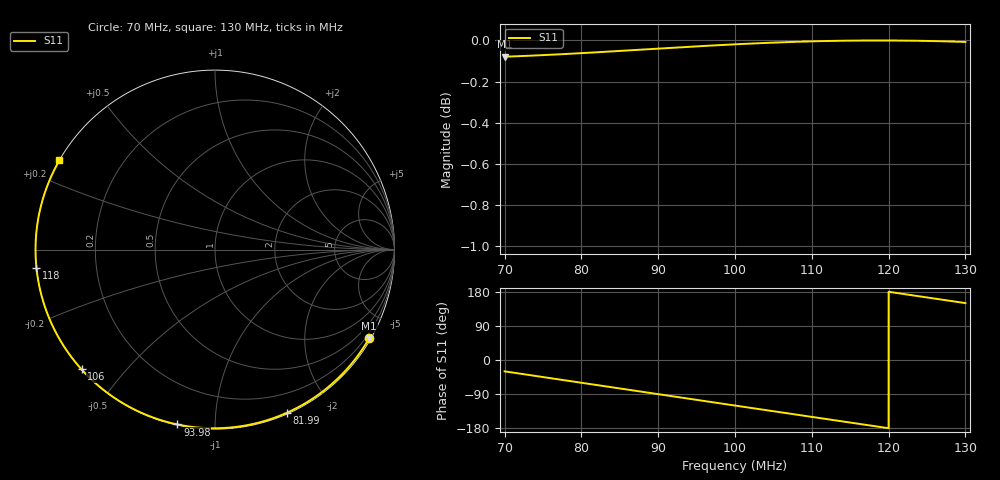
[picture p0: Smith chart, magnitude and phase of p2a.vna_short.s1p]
# Hz S RI R 50
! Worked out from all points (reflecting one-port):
!   10000 points, 70 MHz to 130 MHz, reference 50 ohm
!   lowest |S11| = -0.1 dB at 70 MHz (marker M1), VSWR 219.94, Z = 3.4 - j187 ohm
!   phase of S11 starts at -30 deg and turns -180 deg over the sweep
!   S11 on the Smith chart (normalised r, x): 70 MHz: 0.07, -3.74; 81.99 MHz: 0.01, -1.54; 93.98 MHz: 0.00, -0.81; 106 MHz: 0.00, -0.38; 118 MHz: -0.00, -0.05; 130 MHz: 0.00, +0.27
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7e7  0.8585 -0.4949
7.149415e7  0.8171 -0.561
7.351635e7  0.7531 -0.6449
7.750075e7  0.6029 -0.7883
7.976898e7  0.505 -0.8549
8.19892e7  0.4022 -0.9083
8.50015e7  0.2542 -0.9611
8.688569e7  0.1581 -0.982
8.875788e7  0.0611 -0.9933
9.063006e7  -0.0366 -0.9949
9.250225e7  -0.134 -0.987
9.39784e7  -0.2099 -0.9741
9.69607e7  -0.3591 -0.9303
1.00003e8  -0.5023 -0.8622
1.029253e8  -0.628 -0.7762
1.059796e8  -0.7437 -0.6669
1.075038e8  -0.7946 -0.6058
1.094299e8  -0.8516 -0.5232
1.113141e8  -0.899 -0.4372
1.131683e8  -0.9371 -0.3484
1.150045e8  -0.9662 -0.2573
1.179868e8  -0.9945 -0.1047
1.20243e8  -0.9999 0.0127
1.225053e8  -0.9914 0.1302
1.242994e8  -0.9748 0.2221
1.261056e8  -0.9495 0.3127
1.288719e8  -0.8945 0.4457
1.3e8  -0.8666 0.4974
